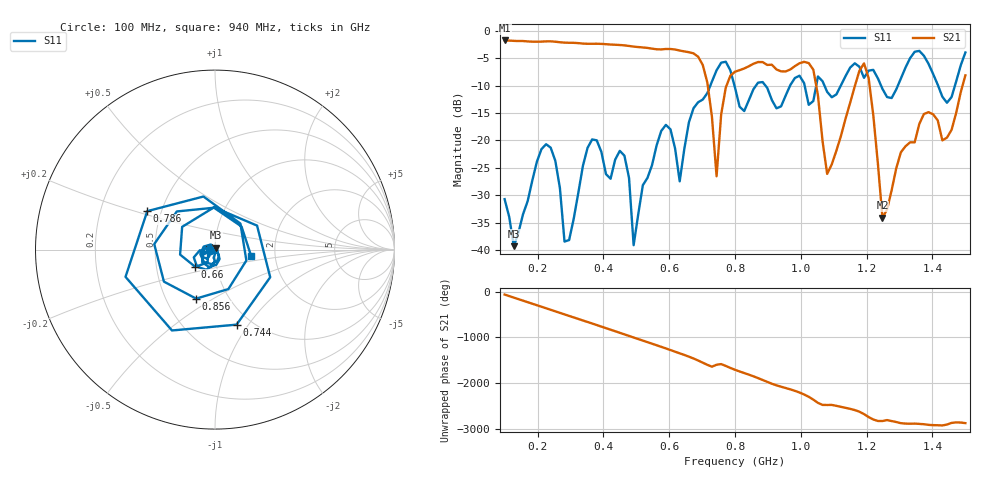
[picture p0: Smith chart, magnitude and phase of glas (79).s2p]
! NanoVNA-App
! Date: 2025-09-26 09:39:27
! Start: 100MHz Stop: 1,5GHz Points: 101
! S-Parameter data: F S11 S21 S12 S22
# Hz S RI R 50
!  Frequency  S11_Real  S11_Imag  S21_Real  S21_Imag  S12_Real  S12_Imag  S22_Real  S22_Imag
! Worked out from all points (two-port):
!   101 points, 100 MHz to 1.5 GHz, reference 50 ohm
!   highest |S21| = -1.79 dB at 100 MHz (marker M1); lowest = -34.1 dB at 1.248 GHz (marker M2)
!   |S21| within 3 dB of the highest: start of sweep to 688.3 MHz
!   lowest |S11| = -39.3 dB at 128 MHz (marker M3), VSWR 1.02, Z = 50.3 + j1.05 ohm
!   |S11| at or under -10 dB: start of sweep to 725.1 MHz; 798.3 MHz to 863.9 MHz (65.58 MHz wide, 7.89 % of centre); 892.3 MHz to 967.5 MHz (75.22 MHz wide, 8.09 % of centre)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
!   S12 and S22 are empty: the file has one direction only
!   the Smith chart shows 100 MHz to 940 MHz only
!   S11 on the Smith chart (normalised r, x): 100 MHz: 0.94, -0.01; 660 MHz: 0.79, -0.15; 744 MHz: 0.85, -0.88; 786 MHz: 0.42, +0.22; 856 MHz: 0.71, -0.42; 940 MHz: 1.50, -0.11
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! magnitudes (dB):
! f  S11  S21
! 100 MHz  -30.7  -1.8
! 128 MHz  -39.3  -1.9
! 212 MHz  -21.6  -2.0
! 282 MHz  -38.4  -2.2
! 338 MHz  -24.6  -2.4
! 464 MHz  -22.8  -2.7
! 492 MHz  -39.1  -2.9
! 576 MHz  -18.3  -3.4
! 632 MHz  -27.5  -3.6
! 660 MHz  -16.7  -3.9
! 716 MHz  -11.4  -9.5
! 744 MHz  -7.2  -26.5
! 786 MHz  -7.3  -8.2
! 800 MHz  -10.4  -7.5
! 856 MHz  -10.7  -6.0
! 940 MHz  -13.8  -7.4
! 1.038 GHz  -12.8  -7.1
! 1.08 GHz  -11.2  -26.1
! 1.192 GHz  -8.6  -6.0
! 1.248 GHz  -10.6  -34.1
! 1.276 GHz  -12.3  -29.1
! 1.5 GHz  -4.0  -8.2
